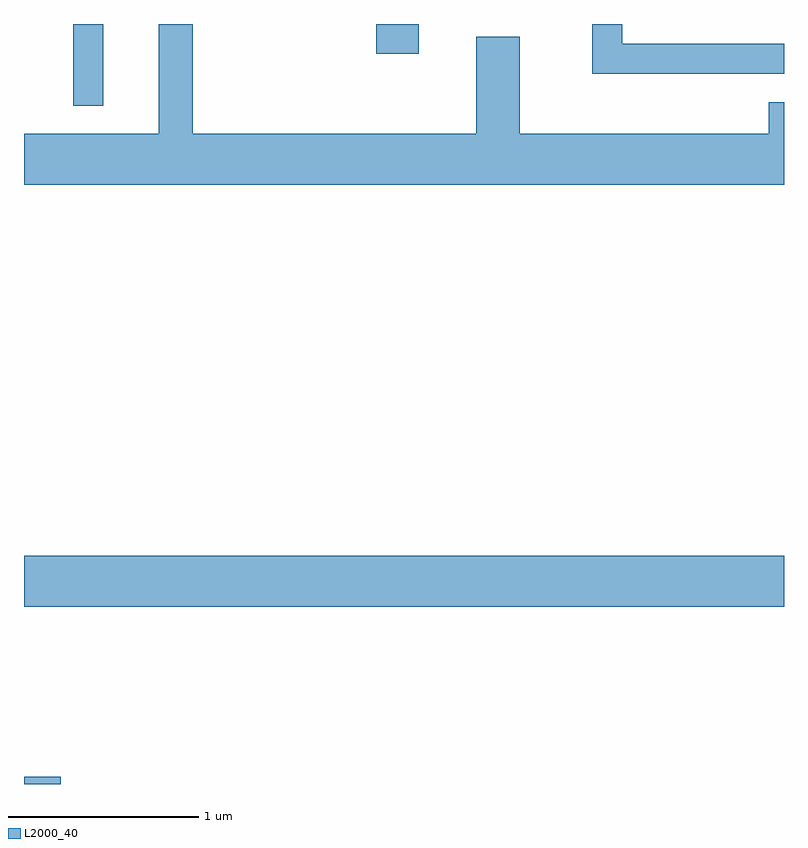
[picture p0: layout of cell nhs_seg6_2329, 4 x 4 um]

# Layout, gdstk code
import gdstk
lib = gdstk.Library(unit=1e-6, precision=1e-09)
def R(c, l, rs):  # rectangles x0, y0, x1, y1
    for r in rs: c.add(gdstk.rectangle(r[:2], r[2:], *l))
def P(c, l, *ps):  # polygons
    for p in ps: c.add(gdstk.Polygon(p, *l))
L2000_40 = (2000, 40)

nhs_seg6_2329 = lib.new_cell('nhs_seg6_2329')
R(nhs_seg6_2329, L2000_40, [(255.611,1600.162,255.804,1600.199), (255.611,1601.096,259.611,1601.364), (255.871,1603.733,256.029,1604.162), (257.466,1604.006,257.689,1604.162)])
P(nhs_seg6_2329, L2000_40, [(259.611,1603.749),(259.531,1603.749),(259.531,1603.584),(258.219,1603.584),(258.219,1604.094),(257.991,1604.094),(257.991,1603.584),(256.499,1603.584),(256.499,1604.162),(256.321,1604.162),(256.321,1603.584),(255.611,1603.584),(255.611,1603.316),(259.611,1603.316)],
  [(259.611,1604.059),(258.759,1604.059),(258.759,1604.162),(258.601,1604.162),(258.601,1603.901),(259.611,1603.901)])

lib.write_gds('nhs_seg6_2329.gds')
